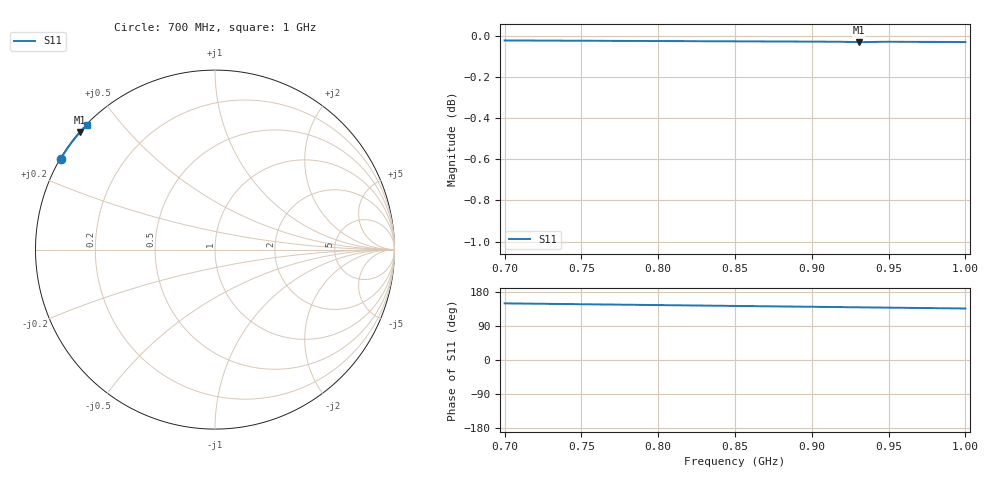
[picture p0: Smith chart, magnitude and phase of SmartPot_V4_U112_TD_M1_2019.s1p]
! SmartPot_V4_U112_TD_M1_2019
! Simulated CST 2019 data; not a VNA measurement.
! Port 1: U1.12 RF pad to In1.Cu GND, reference impedance 50 ohm.
! PRELIMINARY: numerical mesh convergence has NOT been confirmed.
! Converted from native real/imaginary ASCII exports without fitting.
# GHz S RI R 50
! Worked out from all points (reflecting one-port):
!   1001 points, 700 MHz to 1 GHz, reference 50 ohm
!   lowest |S11| = 0.0 dB at 930.7 MHz (marker M1), VSWR 560.39, Z = 0.102 + j18.7 ohm
!   phase of S11 starts at 149 deg and turns -14 deg over the sweep
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0.7  -0.8589 0.507
0.7006  -0.8587 0.5074
0.7015  -0.8584 0.508
0.7174  -0.852 0.5185
0.7285  -0.8474 0.5258
0.7375  -0.8437 0.5318
0.7558  -0.836 0.5437
0.7753  -0.8276 0.5564
0.7948  -0.8189 0.5689
0.8125  -0.8109 0.5802
0.8311  -0.8023 0.5919
0.85  -0.7934 0.6038
0.868  -0.7847 0.6149
0.8878  -0.7749 0.6271
0.9088  -0.7643 0.6399
0.9175  -0.7597 0.6451
0.925  -0.7558 0.6495
0.9307  -0.7529 0.6527
0.9364  -0.7501 0.6561
0.9433  -0.7466 0.6602
0.9508  -0.7426 0.6648
0.9628  -0.7362 0.6718
0.9727  -0.7308 0.6776
0.9871  -0.7229 0.686
0.9943  -0.7189 0.6901
0.9985  -0.7166 0.6925
0.9994  -0.7161 0.693
1  -0.7158 0.6934
